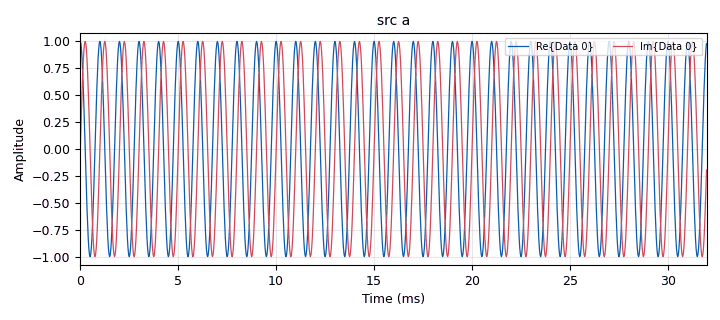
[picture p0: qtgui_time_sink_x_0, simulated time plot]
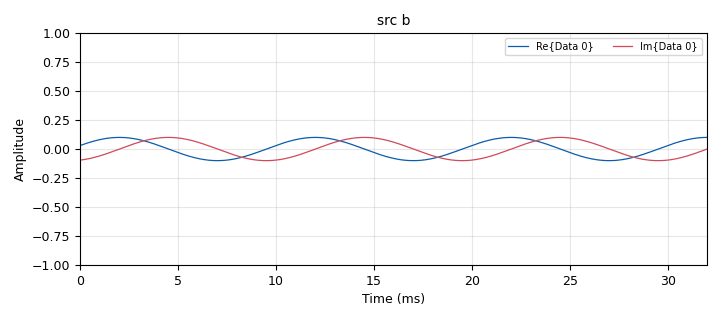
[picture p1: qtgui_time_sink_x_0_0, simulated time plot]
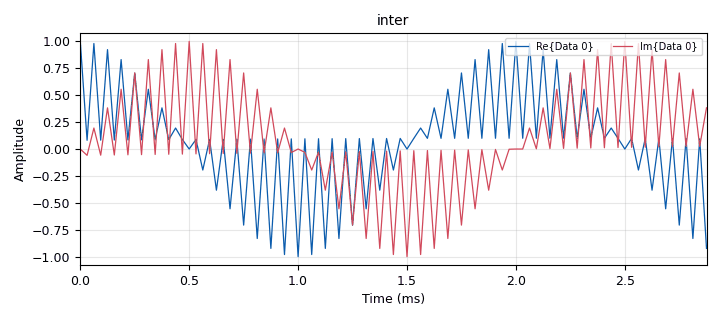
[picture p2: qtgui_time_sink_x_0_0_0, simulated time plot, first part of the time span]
options:
  parameters:
    author: shawn
    generate_options: qt_gui
    id: tutvector
    output_language: python
    title: tut vector
  states: {}

blocks:
- name: samp_rate
  id: variable
  parameters:
    value: '32000'
  states: {}
- name: analog_sig_source_x_0
  id: analog_sig_source_x
  parameters:
    amp: '.1'
    freq: '100'
    offset: '0'
    phase: '0'
    samp_rate: samp_rate
    type: complex
    waveform: analog.GR_COS_WAVE
  states: {}
- name: analog_sig_source_x_0_0
  id: analog_sig_source_x
  parameters:
    amp: '1'
    freq: '1000'
    offset: '0'
    phase: '0'
    samp_rate: samp_rate
    type: complex
    waveform: analog.GR_COS_WAVE
  states: {}
- name: blocks_streams_to_vector_0
  id: blocks_streams_to_vector
  parameters:
    type: complex
  states: {}
- name: blocks_vector_to_stream_0
  id: blocks_vector_to_stream
  parameters:
    type: complex
  states: {}
- name: qtgui_time_sink_x_0
  id: qtgui_time_sink_x
  parameters:
    name: src a
    size: '1024'
    srate: samp_rate
    type: complex
  states: {}
- name: qtgui_time_sink_x_0_0
  id: qtgui_time_sink_x
  parameters:
    name: src b
    size: '1024'
    srate: samp_rate
    type: complex
  states: {}
- name: qtgui_time_sink_x_0_0_0
  id: qtgui_time_sink_x
  parameters:
    name: inter
    size: '1024'
    srate: samp_rate
    type: complex
  states: {}

connections:
- [analog_sig_source_x_0, '0', blocks_streams_to_vector_0, '1']
- [analog_sig_source_x_0, '0', qtgui_time_sink_x_0_0, '0']
- [analog_sig_source_x_0_0, '0', blocks_streams_to_vector_0, '0']
- [analog_sig_source_x_0_0, '0', qtgui_time_sink_x_0, '0']
- [blocks_streams_to_vector_0, '0', blocks_vector_to_stream_0, '0']
- [blocks_vector_to_stream_0, '0', qtgui_time_sink_x_0_0_0, '0']

metadata:
  file_format: 1
